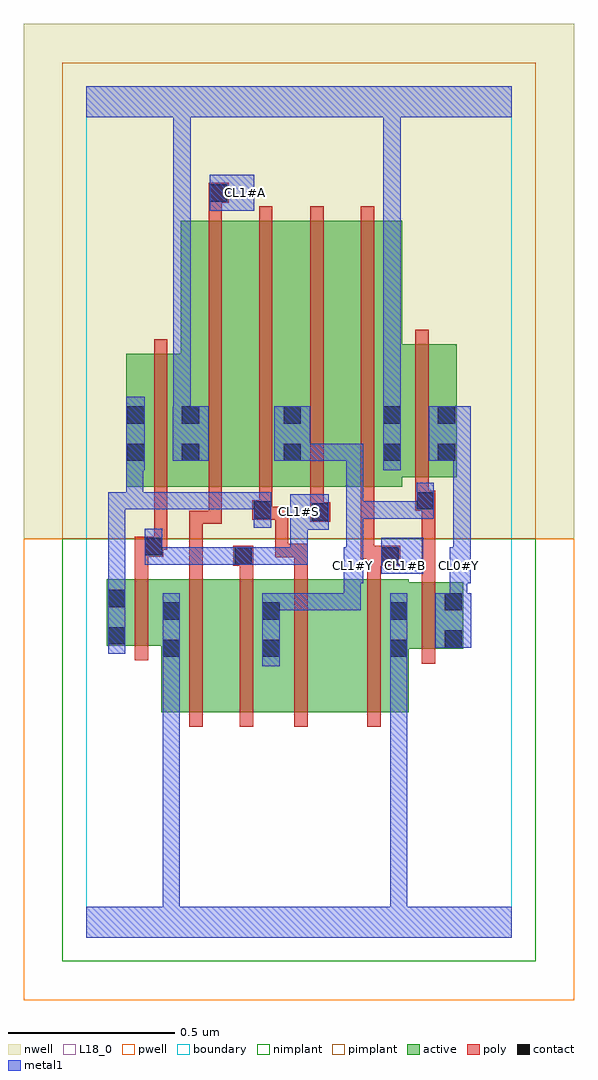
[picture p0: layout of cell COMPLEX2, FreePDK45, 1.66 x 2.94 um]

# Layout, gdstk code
import gdstk
lib = gdstk.Library(unit=1e-6, precision=1e-09)
def R(c, l, rs):  # rectangles x0, y0, x1, y1
    for r in rs: c.add(gdstk.rectangle(r[:2], r[2:], *l))
def A(c, l, x, y, w, h, nx, ny, dx, dy):  # array of equal rectangles
    R(c, l, [(x+i*dx, y+j*dy, x+i*dx+w, y+j*dy+h) for i in range(nx) for j in range(ny)])
active = (1, 0)
pwell = (2, 0)
nwell = (3, 0)
nimplant = (4, 0)
pimplant = (5, 0)
poly = (9, 0)
contact = (10, 0)
metal1 = (11, 0)
L18_0 = (18, 0)
boundary = (235, 0)

complex2 = lib.new_cell('COMPLEX2')
R(complex2, active, [(0.226,0.678,0.286,1.012), (0.226,0.678,0.406,1.078), (0.406,0.678,0.586,1.078), (0.526,0.678,0.722,1.078), (0.526,0.678,0.586,1.012), (0.722,0.678,0.97,1.078), (0.91,0.678,0.97,1.068), (0.91,0.868,1.134,1.068), (1.074,0.868,1.134,1.068), (0.062,0.878,0.122,1.078), (0.062,0.878,0.286,1.078), (0.12,1.356,0.344,1.756), (0.12,1.356,0.18,1.756), (0.284,1.356,0.464,2.156), (0.284,1.356,0.344,1.644), (0.464,1.356,0.65,2.156), (0.59,1.356,0.77,2.156), (0.59,1.356,0.65,2.044), (0.77,1.356,0.95,2.156), (0.89,1.384,1.114,1.784), (1.054,1.384,1.114,1.644), (0.89,1.43,0.95,1.644)])
R(complex2, pwell, [(-0.188,-0.188,1.468,1.2)])
R(complex2, nwell, [(-0.188,1.2,1.468,2.748)])
R(complex2, nimplant, [(-0.072,-0.072,1.352,1.2)])
R(complex2, pimplant, [(-0.072,1.2,1.352,2.632)])
R(complex2, poly, [(0.31,0.634,0.35,1.122), (0.462,0.634,0.502,1.122), (0.626,0.634,0.666,1.122), (0.846,0.634,0.886,1.122), (1.01,0.824,1.05,1.112), (0.146,0.834,0.186,1.122), (1.01,1.072,1.05,1.324), (0.146,1.082,0.186,1.186), (0.31,1.082,0.35,1.284), (0.462,1.082,0.502,1.158), (0.626,1.082,0.666,1.184), (0.846,1.082,0.886,1.158), (0.442,1.118,0.502,1.178), (0.846,1.118,0.944,1.178), (0.826,1.138,0.866,1.352), (0.826,1.138,0.886,1.178), (0.846,1.138,0.886,1.178), (0.568,1.144,0.608,1.184), (0.568,1.144,0.666,1.184), (0.568,1.144,0.608,1.296), (0.626,1.144,0.666,1.184), (0.146,1.146,0.232,1.206), (0.192,1.166,0.232,1.206), (0.192,1.166,0.244,1.206), (0.204,1.166,0.244,1.352), (0.31,1.244,0.35,1.284), (0.31,1.244,0.35,1.284), (0.31,1.244,0.408,1.284), (0.368,1.244,0.408,1.352), (0.674,1.25,0.734,1.31), (0.5,1.256,0.56,1.316), (0.52,1.256,0.608,1.296), (0.568,1.256,0.608,1.296), (0.674,1.27,0.714,1.352), (0.52,1.276,0.56,1.352), (0.99,1.284,1.05,1.344), (1.01,1.284,1.05,1.324), (1.01,1.284,1.05,1.324), (0.99,1.304,1.03,1.38), (0.204,1.312,0.244,1.8), (0.368,1.312,0.408,2.2), (0.52,1.312,0.56,2.2), (0.674,1.312,0.714,2.2), (0.826,1.312,0.866,2.2), (0.99,1.34,1.03,1.828), (0.368,2.16,0.408,2.25), (0.368,2.21,0.428,2.27)])
R(complex2, contact, [(0.23,0.844,0.282,0.896), (0.53,0.844,0.582,0.896), (0.914,0.844,0.966,0.896), (1.078,0.872,1.13,0.924), (0.066,0.882,0.118,0.934), (0.23,0.956,0.282,1.008), (0.53,0.956,0.582,1.008), (0.914,0.956,0.966,1.008), (1.078,0.984,1.13,1.036), (0.066,0.994,0.118,1.046), (0.446,1.122,0.498,1.174), (0.888,1.122,0.94,1.174), (0.176,1.15,0.228,1.202), (0.678,1.254,0.73,1.306), (0.504,1.26,0.556,1.312), (0.994,1.288,1.046,1.34), (0.124,1.434,0.176,1.486), (0.288,1.434,0.34,1.486), (0.594,1.434,0.646,1.486), (0.894,1.434,0.946,1.486), (1.058,1.434,1.11,1.486), (0.124,1.546,0.176,1.598), (0.288,1.546,0.34,1.598), (0.594,1.546,0.646,1.598), (0.894,1.546,0.946,1.598), (1.058,1.546,1.11,1.598), (0.372,2.214,0.424,2.266)])
R(complex2, metal1, [(0,0,1.28,0.092), (0.23,0.04,0.282,0.092), (0.23,0.04,0.282,0.092), (0.23,0.04,0.282,0.092), (0.23,0.04,0.282,0.092), (0.23,0.04,0.282,0.092), (0.23,0.04,0.282,0.092), (0.23,0.04,0.282,0.092), (0.23,0.04,0.282,0.092), (0.23,0.04,0.282,0.092), (0.23,0.04,0.282,0.092), (0.23,0.04,0.282,0.092), (0.23,0.04,0.282,0.092), (0.23,0.04,0.282,0.868), (0.914,0.04,0.966,0.092), (0.914,0.04,0.966,0.092), (0.914,0.04,0.966,0.092), (0.914,0.04,0.966,0.092), (0.914,0.04,0.966,0.092), (0.914,0.04,0.966,0.092), (0.914,0.04,0.966,0.092), (0.914,0.04,0.966,0.092), (0.914,0.04,0.966,0.092), (0.914,0.04,0.966,0.092), (0.914,0.04,0.966,0.092), (0.914,0.04,0.966,0.092), (0.914,0.04,0.966,0.868), (0.23,0.816,0.282,1.036), (0.53,0.816,0.582,1.036), (0.914,0.816,0.966,1.036), (0.066,0.854,0.118,1.074), (1.05,0.872,1.158,1.036), (0.53,0.984,0.826,1.036), (0.774,0.984,0.826,1.036), (0.774,0.984,0.826,1.036), (0.774,0.984,0.826,1.036), (0.774,0.984,0.826,1.118), (1.094,0.984,1.146,1.118), (0.066,1.022,0.118,1.34), (0.774,1.066,0.834,1.174), (1.094,1.066,1.156,1.174), (0.888,1.094,1.014,1.202), (0.176,1.122,0.228,1.23), (0.176,1.122,0.36,1.174), (0.308,1.122,0.36,1.174), (0.308,1.122,0.36,1.174), (0.308,1.122,0.36,1.174), (0.308,1.122,0.47,1.174), (0.418,1.122,0.47,1.174), (0.418,1.122,0.47,1.174), (0.418,1.122,0.526,1.174), (0.474,1.122,0.666,1.174), (0.614,1.122,0.666,1.174), (0.614,1.122,0.666,1.278), (0.782,1.122,0.834,1.312), (1.104,1.122,1.156,1.486), (1.104,1.122,1.156,1.174), (1.104,1.122,1.156,1.174), (0.614,1.226,0.666,1.278), (0.614,1.226,0.666,1.278), (0.614,1.226,0.73,1.334), (0.504,1.232,0.556,1.34), (0.782,1.26,0.834,1.312), (0.782,1.26,0.936,1.312), (0.782,1.26,0.834,1.486), (0.884,1.26,0.936,1.312), (0.884,1.26,0.972,1.312), (0.92,1.26,0.972,1.312), (0.92,1.26,1.046,1.312), (0.994,1.26,1.046,1.368), (0.066,1.288,0.118,1.34), (0.066,1.288,0.118,1.34), (0.066,1.288,0.172,1.34), (0.12,1.288,0.172,1.34), (0.12,1.288,0.172,1.34), (0.12,1.288,0.338,1.34), (0.12,1.288,0.172,1.458), (0.286,1.288,0.338,1.34), (0.286,1.288,0.338,1.34), (0.286,1.288,0.338,1.34), (0.286,1.288,0.472,1.34), (0.42,1.288,0.472,1.34), (0.42,1.288,0.556,1.34), (0.12,1.406,0.176,1.626), (0.894,1.406,0.946,1.626), (0.26,1.434,0.368,1.598), (0.566,1.434,0.674,1.598), (0.622,1.434,0.826,1.486), (0.774,1.434,0.826,1.486), (0.774,1.434,0.834,1.486), (0.782,1.434,0.834,1.486), (1.03,1.434,1.156,1.598), (0.262,1.546,0.314,2.52), (0.894,1.574,0.946,1.626), (0.894,1.574,0.946,1.626), (0.894,1.574,0.946,1.626), (0.894,1.574,0.946,1.626), (0.894,1.574,0.946,1.626), (0.894,1.574,0.946,1.626), (0.894,1.574,0.946,1.626), (0.894,1.574,0.946,1.626), (0.894,1.574,0.946,2.52), (0.372,2.186,0.506,2.294), (0,2.468,1.28,2.56), (0.262,2.468,0.314,2.52), (0.262,2.468,0.314,2.52), (0.262,2.468,0.314,2.52), (0.262,2.468,0.314,2.52), (0.262,2.468,0.314,2.52), (0.262,2.468,0.314,2.52), (0.262,2.468,0.314,2.52), (0.262,2.468,0.314,2.52)])
A(complex2, L18_0, 0.774, 1.094, 0.052, 0.052, 3, 1, 0.16, 0)
R(complex2, L18_0, [(0,0,1.28,0.092), (0.23,0.04,0.282,0.092), (0.23,0.04,0.282,0.092), (0.23,0.04,0.282,0.092), (0.23,0.04,0.282,0.092), (0.23,0.04,0.282,0.092), (0.23,0.04,0.282,0.092), (0.23,0.04,0.282,0.092), (0.23,0.04,0.282,0.092), (0.23,0.04,0.282,0.092), (0.23,0.04,0.282,0.092), (0.23,0.04,0.282,0.092), (0.23,0.04,0.282,0.092), (0.23,0.04,0.282,0.868), (0.914,0.04,0.966,0.092), (0.914,0.04,0.966,0.092), (0.914,0.04,0.966,0.092), (0.914,0.04,0.966,0.092), (0.914,0.04,0.966,0.092), (0.914,0.04,0.966,0.092), (0.914,0.04,0.966,0.092), (0.914,0.04,0.966,0.092), (0.914,0.04,0.966,0.092), (0.914,0.04,0.966,0.092), (0.914,0.04,0.966,0.092), (0.914,0.04,0.966,0.092), (0.914,0.04,0.966,0.868), (0.23,0.816,0.282,1.036), (0.53,0.816,0.582,1.036), (0.914,0.816,0.966,1.036), (1.05,0.872,1.158,1.036), (0.53,0.984,0.826,1.036), (0.774,0.984,0.826,1.036), (0.774,0.984,0.826,1.036), (0.774,0.984,0.826,1.036), (0.774,0.984,0.826,1.118), (1.094,0.984,1.146,1.118), (0.774,1.066,0.834,1.174), (1.094,1.066,1.156,1.174), (0.888,1.094,1.014,1.202), (0.176,1.122,0.228,1.23), (0.176,1.122,0.36,1.174), (0.308,1.122,0.36,1.174), (0.308,1.122,0.36,1.174), (0.308,1.122,0.36,1.174), (0.308,1.122,0.47,1.174), (0.418,1.122,0.47,1.174), (0.418,1.122,0.47,1.174), (0.418,1.122,0.526,1.174), (0.474,1.122,0.666,1.174), (0.614,1.122,0.666,1.174), (0.614,1.122,0.666,1.278), (0.782,1.122,0.834,1.312), (1.104,1.122,1.156,1.174), (1.104,1.122,1.156,1.174), (1.104,1.122,1.156,1.486), (0.614,1.226,0.666,1.278), (0.614,1.226,0.666,1.278), (0.614,1.226,0.73,1.334), (0.614,1.254,0.666,1.306), (0.782,1.26,0.834,1.312), (0.782,1.26,0.834,1.486), (0.782,1.26,0.936,1.312), (0.884,1.26,0.936,1.312), (0.884,1.26,0.972,1.312), (0.92,1.26,0.972,1.312), (0.92,1.26,1.046,1.312), (0.994,1.26,1.046,1.368), (0.894,1.406,0.946,1.626), (0.26,1.434,0.368,1.598), (0.566,1.434,0.674,1.598), (0.622,1.434,0.826,1.486), (0.774,1.434,0.826,1.486), (0.774,1.434,0.834,1.486), (0.782,1.434,0.834,1.486), (1.03,1.434,1.156,1.598), (0.262,1.546,0.314,2.52), (0.894,1.574,0.946,1.626), (0.894,1.574,0.946,1.626), (0.894,1.574,0.946,1.626), (0.894,1.574,0.946,1.626), (0.894,1.574,0.946,1.626), (0.894,1.574,0.946,1.626), (0.894,1.574,0.946,1.626), (0.894,1.574,0.946,1.626), (0.894,1.574,0.946,2.52), (0.372,2.186,0.506,2.294), (0.454,2.214,0.506,2.266), (0,2.468,1.28,2.56), (0.262,2.468,0.314,2.52), (0.262,2.468,0.314,2.52), (0.262,2.468,0.314,2.52), (0.262,2.468,0.314,2.52), (0.262,2.468,0.314,2.52), (0.262,2.468,0.314,2.52), (0.262,2.468,0.314,2.52), (0.262,2.468,0.314,2.52)])
R(complex2, boundary, [(0,0,1.28,2.56)])
complex2.add(gdstk.Label('CL0#Y', (1.12,1.12), layer=11, texttype=0))
complex2.add(gdstk.Label('CL1#A', (0.48,2.24), layer=11, texttype=0))
complex2.add(gdstk.Label('CL1#B', (0.96,1.12), layer=11, texttype=0))
complex2.add(gdstk.Label('CL1#S', (0.64,1.28), layer=11, texttype=0))
complex2.add(gdstk.Label('CL1#Y', (0.8,1.12), layer=11, texttype=0))

lib.write_gds('COMPLEX2.gds')
